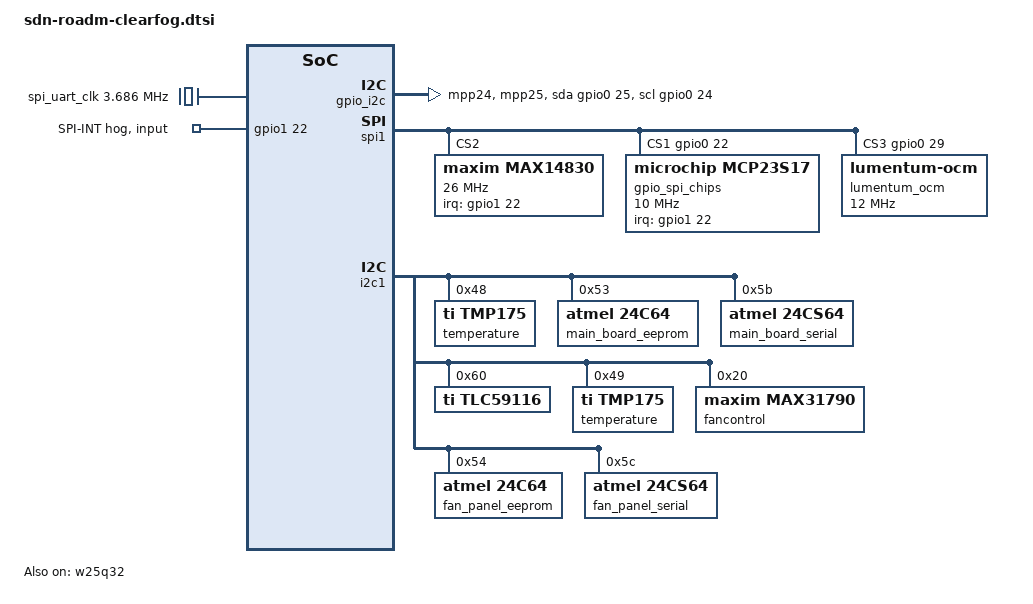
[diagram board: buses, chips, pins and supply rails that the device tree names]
#include "../../../include/generated/uapi/linux/version.h"
#if (LINUX_VERSION_CODE < KERNEL_VERSION(6, 5, 0))
#include "armada-388-clearfog-base.dts"
#else
#include "marvell/armada-388-clearfog-base.dts"
#endif

&w25q32 {
	status = "okay";
};

/ {
	clocks {
		spi_uart_clk: osc_max14830 {
			compatible = "fixed-clock";
			#clock-cells = <0>;
			clock-frequency = <3686400>;
		};
	};

	soc {
		internal-regs {
			sdhci@d8000 {
				/delete-property/ cd-gpios;
				broken-cd;
			};
		};
	};

	gpio_i2c: gpio_i2c {
		compatible = "i2c-gpio";
		sda-gpios = <&gpio0 25 (GPIO_ACTIVE_HIGH | GPIO_OPEN_DRAIN)>;
		scl-gpios = <&gpio0 24 (GPIO_ACTIVE_HIGH | GPIO_OPEN_DRAIN)>;
		i2c-gpio.delay-us = <1>;
		i2c-gpio,timeout-ms = <25>;
		#address-cells = <1>;
		#size-cells = <0>;
		pinctrl-names = "default";
		pinctrl-0 = <&uart1_pins_i2c_bb>;
	};
};

&gpio_i2c {
	// Do not list any devices here. This bus is a bit prone to lockups due to buggy I2C slaves.
	// When that happens, our code in velia tries to unbind a driver, but doing that on a HW that
	// was not instantiated from the userspace fails.
	// The "IPMI FRU" EEPROMs cannot be listed, either, because their probing would fail forever
	// when the board reboots with a particular EEPROM that's not responding at the time the kernel
	// driver enumerates the bus.
};

&pinctrl {
	uart1_pins_i2c_bb: uart1-pins-i2c-bb {
		marvell,pins = "mpp24", "mpp25";
		marvell,function = "gpio";
	};
};

&mikro_uart_pins {
	status = "disabled";
};

&uart1 {
	status = "disabled";
};

&gpio1 {
	spi_int {
		/* MPP54: this needs an external pull-up */
		gpio-hog;
		gpios = <22 GPIO_ACTIVE_HIGH>;
		input;
		line-name = "SPI-INT";
	};
};

&spi1 {
	cs-gpios = <0>, <&gpio0 22 GPIO_ACTIVE_HIGH>, <0>, <&gpio0 29 GPIO_ACTIVE_HIGH>;

	max14830: max14830@2 {
		compatible = "maxim,max14830";
		reg = <2>;
		clocks = <&spi_uart_clk>;
		clock-names = "xtal";
		interrupt-parent = <&gpio1>;
		interrupts = <22 IRQ_TYPE_LEVEL_LOW>;
		gpio-controller;
		#gpio-cells = <2>;
		spi-max-frequency = <26000000>;

		gpio-line-names =
			"WSS_HWRST",
			"WSS_SSD",
			"OCM_HS_IN",
			"OCM_RESET",
			"WSS_MRST",

			"",
			"",
			"",
			"",
			"",
			"",
			"EDFA1_AMP_DISABLE",
			"EDFA2_AMP_DISABLE",
			"EDFA1_OUT_POWER_MUTE",
			"EDFA2_OUT_POWER_MUTE",
			"EXP_GPIO1"
			;
	};

	gpio_spi_chips: gpio@1 {
		compatible = "microchip,mcp23s17";
		reg = <1>;
		interrupt-parent = <&gpio1>;
		interrupts = <22 IRQ_TYPE_LEVEL_LOW>;
		interrupt-controller;
		#interrupt-cells = <2>;
		gpio-controller;
		#gpio-cells = <2>;
		microchip,spi-present-mask = <0x06>; /* extra addresses 1 and 2 */
		microchip,irq-mirror;
		drive-open-drain;
		spi-max-frequency = <10000000>;

		// FIXME: this naming is incompatible with that hack which makes these devices visible as 2*16pin standalone chips
		gpio-bank@1 {
			address = <1>;
			gpio-line-names =
				"EDFA1_RESET",
				"EDFA2_RESET",
				"PMB_ALERT",
				"GND",
				"WSS_SC",
				"WSS_RST",
				"GND",
				"OCM_HS_OUT",

				"EDFA1_OUT_REFLECT_A",
				"EDFA1_PUMP_CURRENT_A",
				"EDFA1_ST1_IN_LOS_A",
				"EDFA1_ST2_IN_LOS_A",
				"EDFA1_ST2_OUT_GAIN_A",
				"EDFA1_CASE_TEMP_A",
				"EDFA1_ST1_OUT_GAIN_A",
				"EDFA1_PUMP_TEMP_A";
		};

		gpio-bank@2 {
			address = <2>;
			gpio-line-names =
				"OCM_READY",
				"OCM_ALARM",
				"GND",
				"GND",
				"GND",
				"GND",
				"GND",
				"GND",

				"EDFA2_OUT_REFLECT_A",
				"EDFA2_PUMP_CURRENT_A",
				"EDFA2_ST1_IN_LOS_A",
				"EDFA2_ST2_IN_LOS_A",
				"EDFA2_ST2_OUT_GAIN_A",
				"EDFA2_CASE_TEMP_A",
				"EDFA2_ST1_OUT_GAIN_A",
				"EDFA2_PUMP_TEMP_A";
		};
	};

	lumentum_ocm: lumentum-ocm@3 {
		compatible = "lumentum-ocm";
		reg = <3>;
		spi-max-frequency = <12000000>;
		// The SPI slave is CPOL=1, but the rest of the devices is CPOL=0 and our SPI master
		// appears to have troubles with CPOL=1 toggling -> let's use a physical inverter
	};
};

&i2c1 {
	temperature@48 {
		compatible = "ti,tmp175";
		reg = <0x48>;
	};

	// 24CSxx is treated as two separate devices
	main_board_eeprom: eeprom@53 {
		compatible = "atmel,24c64";
		reg = <0x53>;
	};
	main_board_serial: eeprom@5b {
		compatible = "atmel,24cs64";
		reg = <0x5b>;
	};

	tlc59116@60 {
		#address-cells = <1>;
		#size-cells = <0>;
		#gpio-cells = <2>;
		compatible = "ti,tlc59116";
		reg = <0x60>;

		sfp_red@0 {
			label = "sfp:red";
			reg = <0>;
		};

		sfp_green@1 {
			label = "sfp:green";
			reg = <1>;
		};

		sfp_blue@2 {
			label = "sfp:blue";
			reg = <2>;
		};

		// OUT3 remains unused

		line_red@4 {
			label = "line:red";
			reg = <4>;
		};

		line_green@5 {
			label = "line:green";
			reg = <5>;
		};

		line_blue@6 {
			label = "line:blue";
			reg = <6>;
		};

		led5_red@7 {
			label = "led5:red";
			reg = <7>;
		};

		status_red@8 {
			label = "status:red";
			reg = <8>;
		};

		status_green@9 {
			label = "status:green";
			reg = <9>;
			linux,default-trigger = "timer";
		};

		status_blue@10 {
			label = "status:blue";
			reg = <10>;
		};

		led5_green@11 {
			label = "led5:green";
			reg = <11>;
		};

		uid_red@12 {
			label = "uid:red";
			reg = <12>;
		};

		uid_green@13 {
			label = "uid:green";
			reg = <13>;
		};

		uid_blue@14 {
			label = "uid:blue";
			reg = <14>;
		};

		led5_blue@15 {
			label = "led5:blue";
			reg = <15>;
		};
	};

	temperature@49 {
		compatible = "ti,tmp175";
		reg = <0x49>;
	};

	fancontrol@20 {
		compatible = "maxim,max31790";
		reg = <0x20>;
	};

	// 24CSxx is treated as two separate devices
	fan_panel_eeprom: eeprom@54 {
		compatible = "atmel,24c64";
		reg = <0x54>;
	};
	fan_panel_serial: eeprom@5c {
		compatible = "atmel,24cs64";
		reg = <0x5c>;
	};
};
